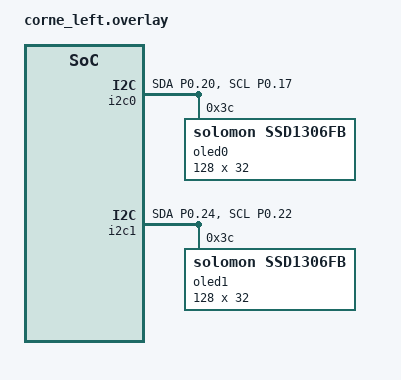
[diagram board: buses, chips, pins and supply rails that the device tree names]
/ {
    chosen {
        zephyr,display = &oled0;
    };
};

&pinctrl {
    i2c0_default: i2c0_default {
        group1 {
            psels = <NRF_PSEL(TWIM_SDA, 0, 20)>,
                    <NRF_PSEL(TWIM_SCL, 0, 17)>;
        };
    };

    i2c1_default: i2c1_default {
        group1 {
            psels = <NRF_PSEL(TWIM_SDA, 0, 24)>,
                    <NRF_PSEL(TWIM_SCL, 0, 22)>;
        };
    };
};

&i2c0 {
    status = "okay";
    pinctrl-0 = <&i2c0_default>;
    pinctrl-names = "default";

    oled0: ssd1306@3c {
        compatible = "solomon,ssd1306fb";
        reg = <0x3c>;
        width = <128>;
        height = <32>;
    };
};

&i2c1 {
    status = "okay";
    pinctrl-0 = <&i2c1_default>;
    pinctrl-names = "default";

    oled1: ssd1306@3c {
        compatible = "solomon,ssd1306fb";
        reg = <0x3c>;
        width = <128>;
        height = <32>;
    };
};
